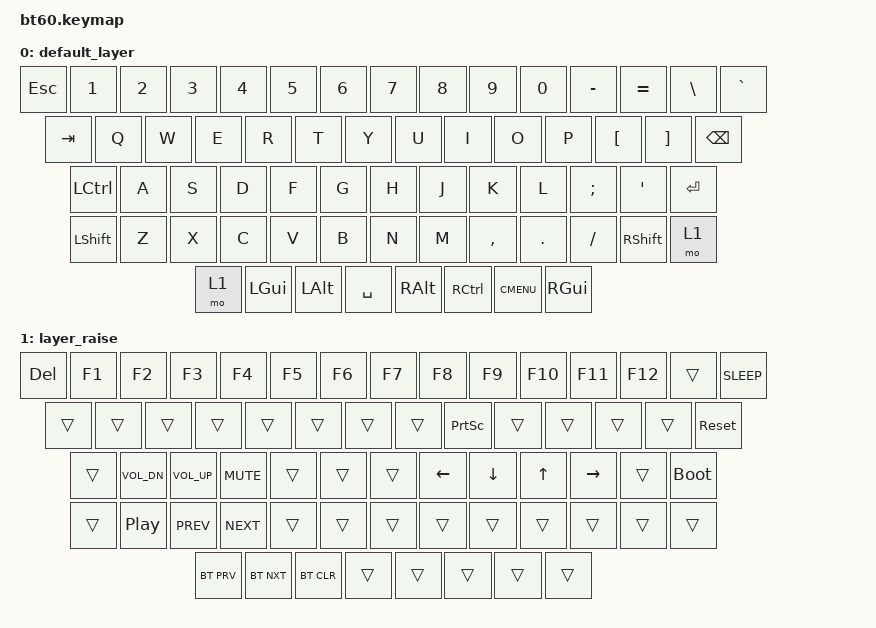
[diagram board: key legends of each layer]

/*
 * Copyright (c) 2020 The ZMK Contributors
 *
 * SPDX-License-Identifier: MIT
 */


/* THIS FILE WAS GENERATED!
 *
 * This file was generated automatically. You may or may not want to
 * edit it directly.
 */

#include <behaviors.dtsi>
#include <dt-bindings/zmk/keys.h>

#include <dt-bindings/zmk/bt.h>

/ {
    keymap {
        compatible = "zmk,keymap";


        default_layer {
            bindings = <
                &kp ESC &kp N1 &kp N2 &kp N3 &kp N4 &kp N5 &kp N6 &kp N7 &kp  N8   &kp  N9 &kp  N0  &kp MINUS &kp EQUAL &kp BSLH &kp GRAVE
				&kp TAB  &kp Q  &kp W  &kp E  &kp R  &kp T  &kp Y  &kp U  &kp  I    &kp  O  &kp  P   &kp LBKT &kp RBKT  &kp BSPC
				&kp LCTRL  &kp A  &kp S  &kp D  &kp F  &kp G  &kp H  &kp J  &kp  K    &kp  L  &kp SEMI &kp SQT           &kp RET
				&kp LSHFT  &kp Z  &kp X  &kp C  &kp V  &kp B  &kp N  &kp M  &kp COMMA &kp DOT &kp FSLH &kp RSHFT   &mo 1
				&mo 1 &kp LGUI &kp LALT            &kp SPACE                          &kp RALT &kp RCTRL &kp K_CMENU &kp RGUI
            >;
        };

        layer_raise {
            bindings = <
                &kp DEL &kp F1 &kp F2 &kp F3 &kp F4 &kp F5 &kp F6 &kp F7 &kp  F8   &kp  F9 &kp  F10  &kp F11 &kp F12 &trans  &kp C_SLEEP
				&trans &trans &trans &trans &trans &trans &trans &trans &kp PSCRN &trans &trans &trans &trans &sys_reset 
				&trans    &kp C_VOL_DN &kp C_VOL_UP &kp C_MUTE &trans &trans &trans &kp LEFT &kp DOWN &kp UP &kp RIGHT  &trans   &bootloader
				&trans  &kp C_PP &kp C_PREV &kp C_NEXT &trans &trans &trans &trans &trans &trans &trans  &trans &trans
				&bt BT_PRV &bt BT_NXT  &bt BT_CLR              &trans                            &trans   &trans   &trans &trans
            >;
        };

    };
};
